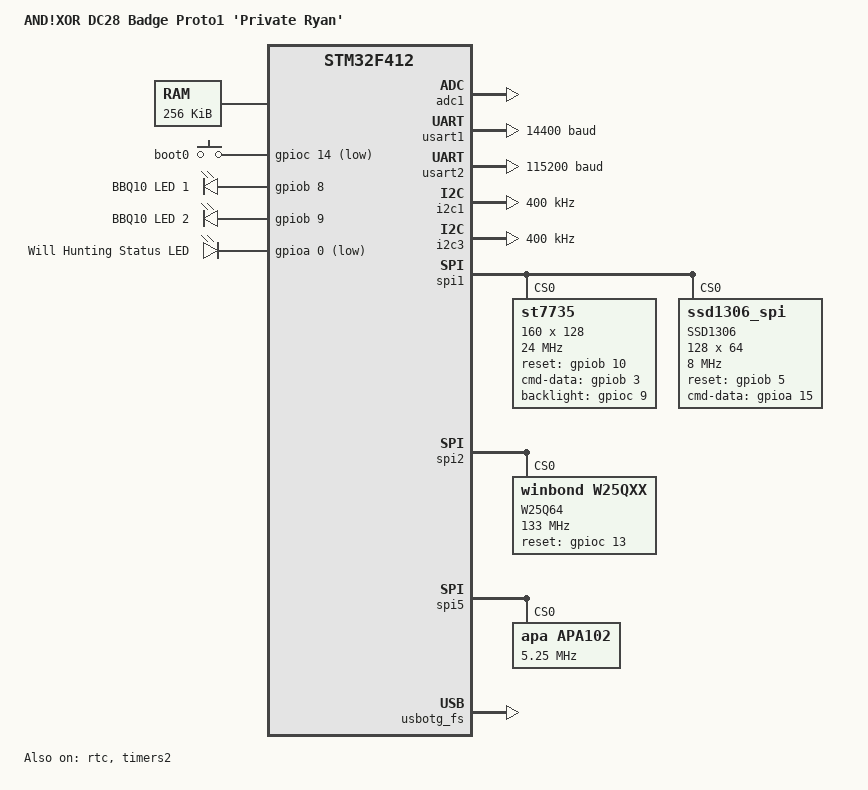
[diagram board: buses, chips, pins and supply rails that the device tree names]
/*
 * Copyright (c) 2017 Linaro Limited
 *
 * SPDX-License-Identifier: Apache-2.0
 */

/dts-v1/;
#include <mem.h>
#include <st/f4/stm32f412.dtsi>

/ {
	model = "AND!XOR DC28 Badge Proto1 'Private Ryan'";
	compatible = "st,stm32f412";

	chosen {
		zephyr,console = &usart2;
		zephyr,shell-uart = &usart2;
		zephyr,sram = &sram0;
		zephyr,flash = &flash0;
	};

	sram0: memory@20000000 {
		reg = <0x20000000 DT_SIZE_K(256)>;
	};

	soc {
		flash-controller@40023c00 {
			flash0: flash@8000000 {
				reg = <0x08000000 DT_SIZE_K(512)>;
			};
		};
	};

	gpio_boot0 {
		compatible = "gpio-keys";
		boot0_button: boot0_button {
			label = "boot0";
			gpios = <&gpioc 14 GPIO_INT_ACTIVE_LOW>;
		};
	};

	leds {
		compatible = "gpio-leds";
		keyboard_led_0: led_0 {
			gpios = <&gpiob 8 GPIO_INT_ACTIVE_HIGH>;
			label = "BBQ10 LED 1";
		};
		keyboard_led_1: led_1 {
			gpios = <&gpiob 9 GPIO_INT_ACTIVE_HIGH>;
			label = "BBQ10 LED 2";
		};
		status_led: status_led {
			gpios = <&gpioa 0 GPIO_INT_ACTIVE_LOW>;
			label = "Will Hunting Status LED";
		};
	};

	aliases {
		// sw0 = &user_button;
	};
};

&adc1 {
	status = "okay";
};

&dma2 {
	status = "okay";
};

&usart1 {
	current-speed = <14400>;
	// pinctrl-names = "default";
	status = "okay";
};

&usart2 {
	current-speed = <115200>;
	//pinctrl-names = "default";
	status = "okay";
};

arduino_i2c: &i2c1 {
	status = "okay";
	clock-frequency = <I2C_BITRATE_FAST>;
};

&i2c2 {
	status = "disabled";
	clock-frequency = <I2C_BITRATE_FAST>;
};

&i2c3 {
	clock-frequency = <I2C_BITRATE_FAST>;
};

&spi1 {
	status = "okay";

	st7735@0 {
		status = "okay";
		compatible = "st7735";
		label = "ST7735";
		reg = <0>;
		spi-max-frequency = <24000000>;
		cs-gpios = <&gpiod 2 0>;
		reset-gpios = <&gpiob 10 0>;
		cmd-data-gpios = <&gpiob 3 0>;
		backlight-gpios = <&gpioc 9 0>;
		width = <160>;
		height = <128>;
	};

	ssd1306@0 {
		compatible = "ssd1306_spi"; //custom AND!XOR driver
		reg = <0>;
		label = "SSD1306";
		spi-max-frequency = <8000000>;
		width = <128>;
		height = <64>;
		cs-gpios = <&gpioa 4 0>;
		reset-gpios = <&gpiob 5 0>;
		cmd-data-gpios = <&gpioa 15 0>;
	};
};

&spi2 {
	status = "okay";
	//W25Q64FV
	w25q64: w25q64fv@0 {
		compatible = "winbond,w25qxx", "jedec,spi-nor";
		reg = <0>;
		label = "W25Q64";
		size = <0x1000000>;
		spi-max-frequency = <133000000>; 
		status = "okay";
		has-be32k;
		jedec-id = [ef 40 18];
		reset-gpios = <&gpioc 13 0>;
	};
};

&spi5 {
	status = "okay";
	clocks = <&rcc STM32_CLOCK_BUS_APB2 0x00100000>;
	apa102@0 {
		compatible = "apa,apa102";
		reg = <0>;
		spi-max-frequency = <5250000>;
		label = "APA102";
	};
};

&rtc {
	status = "okay";
};

&timers2 {
	status = "okay";
};

&usbotg_fs {
	status = "okay";
};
